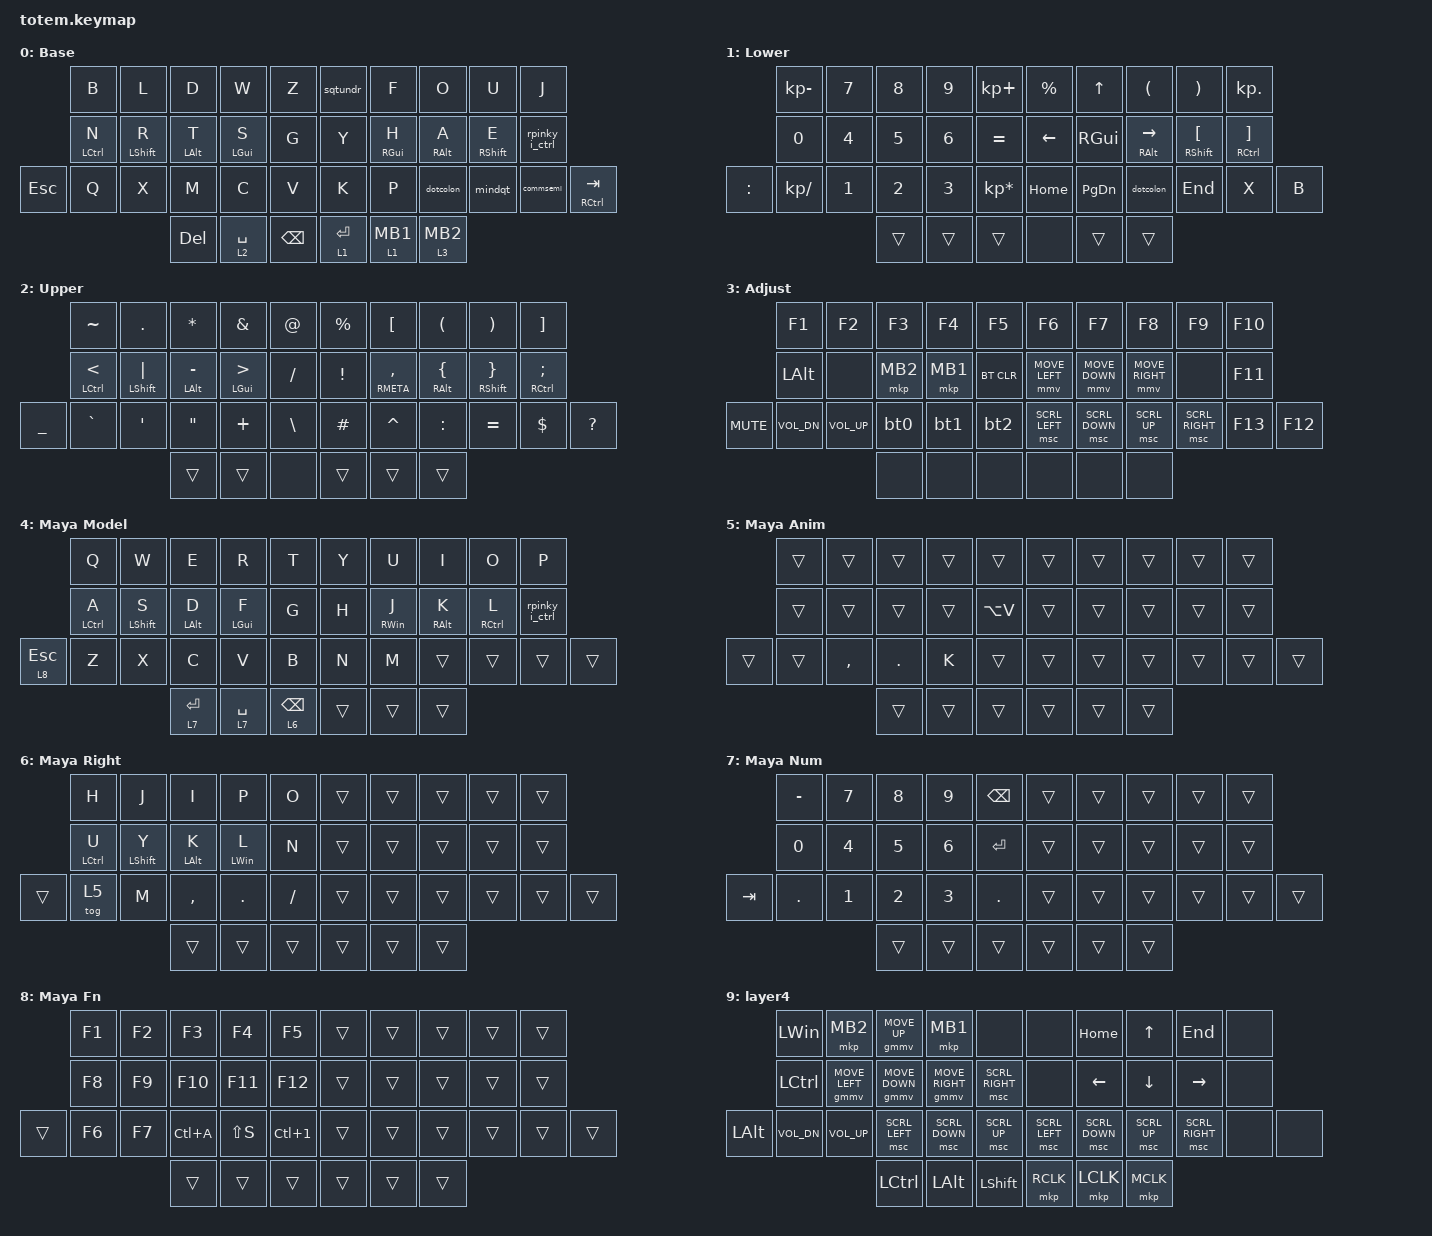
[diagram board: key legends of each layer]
#define ZMK_POINTING_DEFAULT_MOVE_VAL 2500
#define ZMK_POINTING_DEFAULT_SCRL_VAL 20

#include <behaviors.dtsi>
#include <dt-bindings/zmk/bt.h>
#include <dt-bindings/zmk/keys.h>
#include <dt-bindings/zmk/outputs.h>
#include <dt-bindings/zmk/pointing.h>

// Existing layers 0..4 retain their numbering.

#define MAYA_MODEL 5
#define MAYA_ANIM  6
#define MAYA_RIGHT 7
#define MAYA_NUM   8
#define MAYA_FN    9

/ {
    behaviors {
        // Maya is operated with one hand. Do not reuse the opposite-hand
        // positional restrictions, prior-idle or quick-tap settings of hml.

        maya_cs: maya_ctrl_shift {
            compatible = "zmk,behavior-hold-tap";
            display-name = "Maya Ctrl Shift";
            #binding-cells = <2>;
            flavor = "hold-preferred";
            tapping-term-ms = <180>;
            hold-while-undecided;
            bindings = <&kp>, <&kp>;
        };

        maya_alt: maya_alt_mod {
            compatible = "zmk,behavior-hold-tap";
            display-name = "Maya Alt";
            #binding-cells = <2>;
            flavor = "hold-preferred";
            tapping-term-ms = <170>;
            bindings = <&kp>, <&kp>;
        };

        maya_gui: maya_gui_mod {
            compatible = "zmk,behavior-hold-tap";
            display-name = "Maya Win";
            #binding-cells = <2>;
            flavor = "hold-preferred";
            tapping-term-ms = <250>;
            bindings = <&kp>, <&kp>;
        };

        maya_lt: maya_layer_tap {
            compatible = "zmk,behavior-hold-tap";
            display-name = "Maya Layer Tap";
            #binding-cells = <2>;
            flavor = "hold-preferred";
            tapping-term-ms = <180>;
            bindings = <&mo>, <&kp>;
        };

        hml: home_row_mod_left {
            compatible = "zmk,behavior-hold-tap";
            display-name = "Home Row Mod L";
            #binding-cells = <2>;
            flavor = "balanced";
            require-prior-idle-ms = <125>;
            tapping-term-ms = <280>;
            quick-tap-ms = <175>;
            bindings = <&kp>, <&kp>;

            hold-trigger-key-positions = <5 6 7 8 9 15 16 17 18 19 26 27 28 29 30 31 35 36 37>;
            hold-trigger-on-release;
        };

        hmr: home_row_mod_right {
            compatible = "zmk,behavior-hold-tap";
            display-name = "Home Row Mod R";
            #binding-cells = <2>;
            flavor = "balanced";
            require-prior-idle-ms = <125>;
            tapping-term-ms = <280>;
            quick-tap-ms = <175>;
            bindings = <&kp>, <&kp>;

            hold-trigger-key-positions = <0 1 2 3 4 10 11 12 13 14 20 21 22 23 24 25 32 33 34>;
            hold-trigger-on-release;
        };

        ltt: layer_tap_thumb {
            compatible = "zmk,behavior-hold-tap";
            display-name = "Layer-Tap";
            #binding-cells = <2>;
            flavor = "balanced";
            tapping-term-ms = <280>;
            quick-tap-ms = <175>;
            bindings = <&mo>, <&kp>;
        };

        bt0: bt_profile_0 {
            compatible = "zmk,behavior-tap-dance";
            display-name = "Bluetooth Profile 0";
            #binding-cells = <0>;
            bindings = <&macro_bt0>, <&bt BT_CLR>;
        };

        bt1: bt_profile_1 {
            compatible = "zmk,behavior-tap-dance";
            display-name = "Bluetooth Profile 1";
            #binding-cells = <0>;
            bindings = <&macro_bt1>, <&bt BT_CLR>;
        };

        bt2: bt_profile_2 {
            compatible = "zmk,behavior-tap-dance";
            display-name = "Bluetooth Profile 2";
            #binding-cells = <0>;
            bindings = <&macro_bt2>, <&bt BT_CLR>;
        };

        sqtundr: shift_squote_underscore {
            compatible = "zmk,behavior-mod-morph";
            #binding-cells = <0>;
            bindings = <&kp SQT>, <&kp UNDER>;

            mods = <(MOD_LSFT)>;
        };

        dotcolon: shift_dot_colon {
            compatible = "zmk,behavior-mod-morph";
            #binding-cells = <0>;
            bindings = <&kp DOT>, <&kp COLON>;

            mods = <(MOD_LSFT)>;
        };

        mindqt: shift_minus_dquote {
            compatible = "zmk,behavior-mod-morph";
            #binding-cells = <0>;
            bindings = <&kp MINUS>, <&kp DQT>;

            mods = <(MOD_LSFT)>;
        };

        commsemi: shift_comma_semicolon {
            compatible = "zmk,behavior-mod-morph";
            #binding-cells = <0>;
            bindings = <&kp COMMA>, <&kp SEMI>;

            mods = <(MOD_LSFT)>;
        };

        lmt: layer_mouse_thumb {
            compatible = "zmk,behavior-hold-tap";
            display-name = "Layer-Tap";
            #binding-cells = <2>;
            flavor = "balanced";
            tapping-term-ms = <280>;
            quick-tap-ms = <175>;
            bindings = <&mo>, <&mkp>;

            label = "LAYER_MOUSE_THUMB";
        };

        rpinky_i_ctrl: rpinky_i_ctrl {
            compatible = "zmk,behavior-mod-morph";
            label = "RPINKY_I_CTRL";
            bindings = <&ltt 9 I>, <&kp LEFT_CONTROL>;

            #binding-cells = <0>;
            keep-mods = <(MOD_LCTL|MOD_LALT|MOD_LGUI|MOD_RCTL|MOD_RSFT|MOD_RALT|MOD_RGUI)>;
            mods = <(MOD_LCTL|MOD_LALT|MOD_LGUI|MOD_RCTL|MOD_RGUI|MOD_RSFT|MOD_RALT)>;
        };

        gmmv: gated_mouse_move {
            compatible = "zmk,behavior-gated-mouse-move";
            #binding-cells = <1>;
            bindings = <&mmv>;
            stop-layer = <4>;
            display-name = "Gated Mouse Move";
        };
    };

    macros {
        macro_bt0: bt_profile_0_macro {
            compatible = "zmk,behavior-macro";
            #binding-cells = <0>;
            bindings = <&out OUT_BLE &bt BT_SEL 0>;
        };

        macro_bt1: bt_profile_1_macro {
            compatible = "zmk,behavior-macro";
            #binding-cells = <0>;
            bindings = <&out OUT_BLE &bt BT_SEL 1>;
        };

        macro_bt2: bt_profile_2_macro {
            compatible = "zmk,behavior-macro";
            #binding-cells = <0>;
            bindings = <&out OUT_BLE &bt BT_SEL 2>;
        };

        win_Shift: win_Shift {
            compatible = "zmk,behavior-macro";
            #binding-cells = <0>;
            bindings = <&sk LEFT_GUI &sk LEFT_SHIFT>;
            label = "WIN_SHIFT";
        };

        ime_toggle_hybrid: ime_toggle {
            compatible = "zmk,behavior-macro";
            #binding-cells = <0>;
            bindings =
                <&macro_tap>,
                <&kp LC(SPACE)>,
                <&macro_press>,
                <&kp LEFT_ALT>,
                <&macro_tap>,
                <&kp GRAVE>,
                <&macro_release>,
                <&kp LEFT_ALT>;

            label = "IME_TOGGLE";
        };

        alt_funcfour: alt_funcfour {
            compatible = "zmk,behavior-macro";
            #binding-cells = <0>;
            bindings = <&kp LA(F4)>;
            label = "ALT_FUNCFOUR";
        };

        ctrl_c: ctrl_c {
            compatible = "zmk,behavior-macro";
            #binding-cells = <0>;
            bindings = <&kp LC(C)>;
            label = "CTRL_C";
        };

        ctrl_v: ctrl_v {
            compatible = "zmk,behavior-macro";
            #binding-cells = <0>;
            bindings = <&kp LC(V)>;
            label = "CTRL_V";
        };

        ctrl_x: ctrl_x {
            compatible = "zmk,behavior-macro";
            #binding-cells = <0>;
            bindings = <&kp LC(X)>;
            label = "CTRL_X";
        };

        win_ctrl: win_ctrl {
            compatible = "zmk,behavior-macro";
            #binding-cells = <0>;
            bindings = <&sk LEFT_GUI &sk LCTRL>;
            label = "WIN_CTRL";
        };
    };

    combos {
        compatible = "zmk,combos";

        // Left outer pinky + upper inner-index key: enter/exit Maya.
        // Positions are from the full 38-key transform, not left-only indices.

        combo_maya_enter {
            timeout-ms = <30>;
            key-positions = <11 12 13>;
            layers = <2>;
            bindings = <&to 4>;
        };

        combo_maya_exit {
            timeout-ms = <30>;
            key-positions = <11 12 13>;
            layers = <6 4 7 7 8>;
            bindings = <&to 0>;
        };

        combo_maya_insert {
            timeout-ms = <40>;
            key-positions = <2 3>; // E + R, middle + index.
            layers = <6 4>;
            bindings = <&kp INSERT>;
        };

        combo_maya_delete {
            timeout-ms = <40>;
            key-positions = <1 2>; // W + E.
            layers = <6 4>;
            bindings = <&kp DELETE>;
        };

        combo_maya_backspace {
            timeout-ms = <40>;
            key-positions = <0 1>; // Q + W.
            layers = <6 4>;
            bindings = <&kp BACKSPACE>;
        };

        combo_tab {
            timeout-ms = <30>;
            require-prior-idle-ms = <175>;
            key-positions = <1 2>; // LD
            layers = <0>;
            bindings = <&kp TAB>;
        };

        combo_spc_lower {
            timeout-ms = <30>;
            key-positions = <1 2>;
            layers = <1>;
            bindings = <&kp SPACE>;
        };

        combo_bspc_upper {
            timeout-ms = <30>;
            key-positions = <7 8>; // OU
            layers = <2>;
            bindings = <&kp BSPC>;
        };

        combo_ime_toggle {
            timeout-ms = <30>;
            key-positions = <13 12>; // SH
            layers = <0>;
            bindings = <&ime_toggle_hybrid>;
        };

        combo_caps_word {
            layers = <0 1 2 5 9>; // Legacy layers only.
            bindings = <&kp CAPSLOCK>;
            key-positions = <14 13 15>;
        };

        close_window {
            bindings = <&alt_funcfour>;
            key-positions = <11 12 13>;
            slow-release;
            timeout-ms = <30>;
            layers = <9>;
        };

        application {
            bindings = <&kp K_APP>;
            key-positions = <13 11>;
            timeout-ms = <60>;
            layers = <0>;
        };

        terminal_toggle {
            layers = <0 1 2 5 9>; // Legacy layers only.
            bindings = <&kp F13>;
            key-positions = <24 23>;
        };

        toggle_agentpanel {
            layers = <0 1 2 5 9>; // Legacy layers only.
            bindings = <&kp F14>;
            key-positions = <0 1>;
        };

        toggle_projectpanel {
            layers = <0 1 2 5 9>; // Legacy layers only.
            bindings = <&kp F15>;
            key-positions = <3 4>;
        };

        combo_maya_delhistory {
            bindings = <&kp LA(LS(D))>;
            key-positions = <1 3>;
        };

        combo_maya_undo {
            bindings = <&kp LC(Z)>;
            key-positions = <23 22>;
        };

        combo_maya_redo {
            bindings = <&kp LC(Y)>;
            key-positions = <21 22 23>;
        };
    };

    conditional_layers { compatible = "zmk,conditional-layers"; };

    keymap {
        compatible = "zmk,keymap";

        /* Base (default), Graphite alphas
         */

        base_layer {
            display-name = "Base";
            bindings = <
         &kp B         &kp L              &kp D            &kp W            &kp Z            &sqtundr      &kp F             &kp O             &kp U               &kp J
         &hml LCTRL N  &hml LEFT_SHIFT R  &hml LEFT_ALT T  &hml LEFT_GUI S  &kp G            &kp Y         &hmr RIGHT_GUI H  &hmr RIGHT_ALT A  &hmr RIGHT_SHIFT E  &rpinky_i_ctrl
&kp ESC  &kp Q         &kp X              &kp M            &kp C            &kp V            &kp K         &kp P             &dotcolon         &mindqt             &commsemi       &hmr RCTRL TAB
                                          &kp DELETE       &ltt 2 SPACE     &kp BACKSPACE    &ltt 1 ENTER  &lmt 1 MB1        &lmt 3 MB2
            >;
        };

        lower_layer {
            display-name = "Lower";
            bindings = <
           &kp KP_MINUS  &kp N7  &kp N8  &kp N9  &kp KP_PLUS        &kp PRCNT  &kp UP_ARROW   &kp LPAR              &kp RPAR               &kp KP_DOT
           &kp N0        &kp N4  &kp N5  &kp N6  &kp EQUAL          &kp LEFT   &kp RIGHT_GUI  &hmr RIGHT_ALT RIGHT  &hmr RIGHT_SHIFT LBKT  &hmr RCTRL RBKT
&kp COLON  &kp KP_SLASH  &kp N1  &kp N2  &kp N3  &kp KP_ASTERISK    &kp HOME   &kp PG_DN      &dotcolon             &kp END                &kp X            &kp B
                                 &trans  &trans  &trans             &none      &trans         &trans
            >;
        };

        upper_layer {
            display-name = "Upper";
            bindings = <
           &kp TILDE      &kp DOT          &kp ASTRK            &kp AMPS          &kp AT      &kp PRCNT  &kp LBKT          &kp LPAR        &kp RPAR               &kp RBKT
           &hml LCTRL LT  &hml LSHFT PIPE  &hml LEFT_ALT MINUS  &hmr LEFT_GUI GT  &kp FSLH    &kp EXCL   &hmr RMETA COMMA  &hmr RALT LBRC  &hmr RIGHT_SHIFT RBRC  &hmr RCTRL SEMI
&kp UNDER  &kp GRAVE      &kp SQT          &kp DQT              &kp PLUS          &kp BSLH    &kp HASH   &kp CARET         &kp COLON       &kp EQUAL              &kp DLLR         &kp QMARK
                                           &trans               &trans            &none       &trans     &trans            &trans
            >;
        };

        adjust_layer {
            display-name = "Adjust";
            bindings = <
            &kp F1        &kp F2        &kp F3    &kp F4    &kp F5        &kp F6          &kp F7          &kp F8           &kp F9           &kp F10
            &kp LEFT_ALT  &none         &mkp MB2  &mkp MB1  &bt BT_CLR    &mmv MOVE_LEFT  &mmv MOVE_DOWN  &mmv MOVE_RIGHT  &none            &kp F11
&kp C_MUTE  &kp C_VOL_DN  &kp C_VOL_UP  &bt0      &bt1      &bt2          &msc SCRL_LEFT  &msc SCRL_DOWN  &msc SCRL_UP     &msc SCRL_RIGHT  &kp F13  &kp F12
                                        &none     &none     &none         &none           &none           &none
            >;
        };

        maya_model_layer {
            display-name = "Maya Model";
            bindings = <
            &kp Q         &kp W         &kp E             &kp R             &kp T                   &kp Y   &kp U             &kp I             &kp O         &kp P
            &hml LCTRL A  &hml LSHFT S  &hml LALT D       &hml LGUI F       &kp G                   &kp H   &hmr RIGHT_WIN J  &hmr RIGHT_ALT K  &hmr RCTRL L  &rpinky_i_ctrl
&ltt 8 ESC  &kp Z         &kp X         &kp C             &kp V             &kp B                   &kp N   &kp M             &trans            &trans        &trans          &trans
                                        &maya_lt 7 ENTER  &maya_lt 7 SPACE  &maya_lt 6 BACKSPACE    &trans  &trans            &trans
            >;
        };

        maya_anim_layer {
            display-name = "Maya Anim";
            bindings = <
        &trans  &trans     &trans   &trans  &trans       &trans  &trans  &trans  &trans  &trans
        &trans  &trans     &trans   &trans  &kp LA(V)    &trans  &trans  &trans  &trans  &trans
&trans  &trans  &kp COMMA  &kp DOT  &kp K   &trans       &trans  &trans  &trans  &trans  &trans  &trans
                           &trans   &trans  &trans       &trans  &trans  &trans
            >;
        };

        maya_right_layer {
            display-name = "Maya Right";
            bindings = <
        &kp H         &kp J              &kp I            &kp P            &kp O       &trans  &trans  &trans  &trans  &trans
        &hml LCTRL U  &hml LEFT_SHIFT Y  &hml LEFT_ALT K  &hml LEFT_WIN L  &kp N       &trans  &trans  &trans  &trans  &trans
&trans  &tog 5        &kp M              &kp COMMA        &kp DOT          &kp FSLH    &trans  &trans  &trans  &trans  &trans  &trans
                                         &trans           &trans           &trans      &trans  &trans  &trans
            >;
        };

        maya_num_layer {
            display-name = "Maya Num";
            bindings = <
         &kp MINUS  &kp N7  &kp N8  &kp N9  &kp BACKSPACE    &trans  &trans  &trans  &trans  &trans
         &kp N0     &kp N4  &kp N5  &kp N6  &kp ENTER        &trans  &trans  &trans  &trans  &trans
&kp TAB  &kp DOT    &kp N1  &kp N2  &kp N3  &kp DOT          &trans  &trans  &trans  &trans  &trans  &trans
                            &trans  &trans  &trans           &trans  &trans  &trans
            >;
        };

        maya_fn_layer {
            display-name = "Maya Fn";
            bindings = <
        &kp F1  &kp F2  &kp F3     &kp F4     &kp F5        &trans  &trans  &trans  &trans  &trans
        &kp F8  &kp F9  &kp F10    &kp F11    &kp F12       &trans  &trans  &trans  &trans  &trans
&trans  &kp F6  &kp F7  &kp LC(A)  &kp LS(S)  &kp LC(N1)    &trans  &trans  &trans  &trans  &trans  &trans
                        &trans     &trans     &trans        &trans  &trans  &trans
            >;
        };

        layer_nav {
            display-name = "layer4";
            bindings = <
              &kp LEFT_WIN      &mkp MB2         &gmmv MOVE_UP     &mkp MB1          &none              &none           &kp HOME        &kp UP          &kp END          &none
              &kp LEFT_CONTROL  &gmmv MOVE_LEFT  &gmmv MOVE_DOWN   &gmmv MOVE_RIGHT  &msc SCRL_RIGHT    &none           &kp LEFT_ARROW  &kp DOWN_ARROW  &kp RIGHT        &none
&kp LEFT_ALT  &kp C_VOL_DN      &kp C_VOL_UP     &msc SCRL_LEFT    &msc SCRL_DOWN    &msc SCRL_UP       &msc SCRL_LEFT  &msc SCRL_DOWN  &msc SCRL_UP    &msc SCRL_RIGHT  &none  &none
                                                 &kp LEFT_CONTROL  &kp LEFT_ALT      &kp LEFT_SHIFT     &mkp RCLK       &mkp LCLK       &mkp MCLK
            >;
        };
    };
};
